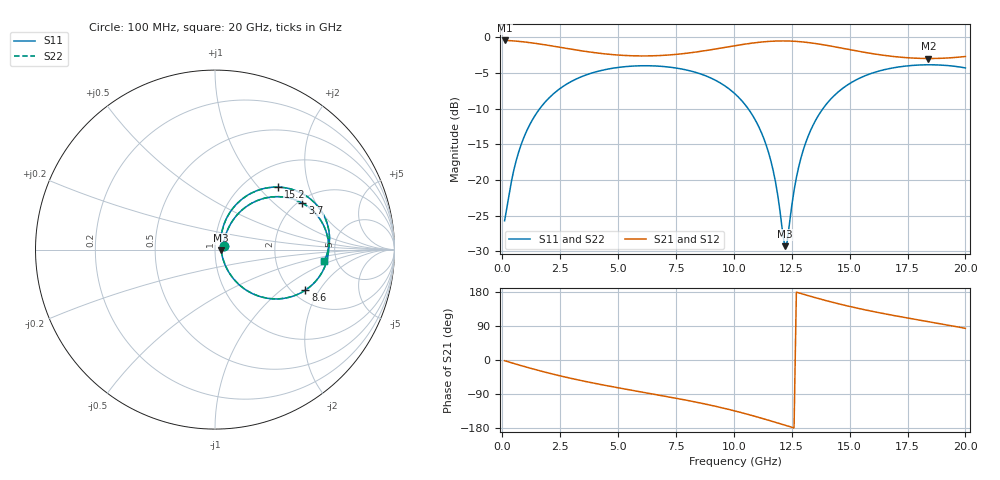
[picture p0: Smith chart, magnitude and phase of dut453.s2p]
! Touchstone file exported from HFSS 2026.1.0
!  File:  C:/ffzhzh/LocalFiles/Ansys_Project_Files/temp_train_TSV_RDL_453_1783100227_35180.aedt
!  Generated:  01:48:49 AM Jul  4, 2026
!  Design:  TSV_RDL
!  Project:  temp_train_TSV_RDL_453_1783100227_35180
! Variables:
!  h_bsmrdl = 2.97um
!  h_ox = 20um
!  h_rdl = 5um
!  h_sub = 89.7um
!  h_tmrdl = 2.14um
!  h_tsv = 89.7um
!  h_via = 3um
!  l_bsmrdl = 287.41um
!  l_sub = 4284.33um
!  l_tmrdl = 738.32um
!  m_sub = 200um
!  pitch = 55.94um
!  r_tsv = 14.64um
!  s_tmrdl = 10um
!  w_bsmrdl = 10.07um
!  w_sub = 500um
!  w_tmrdl = 12.87um
!  x_tsv_center1 = 744.755um
!  x_tsv_center2 = 1042.235um
!  x_tsv_center3 = 1793.425um
!  x_tsv_center4 = 2090.905um
!  x_tsv_center5 = 2842.095um
!  x_tsv_center6 = 3139.575um
# GHz S MA R 50.000000
! Terminal data exported
! Port[1] = TM_RDL1_1_T1
! Port[2] = TM_RDL5_1_T1
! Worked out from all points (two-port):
!   200 points, 100 MHz to 20 GHz, reference 50 ohm
!   highest |S21| = -0.42 dB at 100 MHz (marker M1); lowest = -3.0 dB at 18.4 GHz (marker M2)
!   |S21| within 3 dB of the highest: start of sweep to end of sweep
!   lowest |S11| = -29.3 dB at 12.2 GHz (marker M3), VSWR 1.07, Z = 53.5 - j0.305 ohm
!   |S11| at or under -10 dB: start of sweep to 1.618 GHz; 10.62 GHz to 13.85 GHz (3.23 GHz wide, 26.4 % of centre)
!   |S22| runs from -29.1 to -3.8 dB; largest |S21 - S12| = 1.6e-14
!   S11 on the Smith chart (normalised r, x): 100 MHz: 1.10, +0.04; 3.7 GHz: 2.11, +1.57; 8.6 GHz: 2.34, -1.52; 15.2 GHz: 1.40, +1.29; 20 GHz: 3.97, -0.81
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0.1  0.05169 23.2  0.9529 -1.9  0.9529 -1.9  0.05169 23.2
! Gamma 0 0 0 0
! Port Impedance 50 0 50 0
0.6  0.1366 57.9  0.9427 -11.1  0.9427 -11.1  0.1366 57.9
1.2  0.2468 56.7  0.9199 -21.5  0.9199 -21.5  0.2467 56.7
2.2  0.4011 45.7  0.869 -37.5  0.869 -37.5  0.4011 45.7
3.5  0.5369 30.2  0.8025 -55.5  0.8025 -55.5  0.5369 30.3
3.7  0.5518 28.0  0.7938 -58.0  0.7938 -58.0  0.5517 28.0
5.3  0.6239 10.9  0.7475 -76.6  0.7475 -76.6  0.6238 10.9
6.8  0.6284 -4.4  0.7467 -93.0  0.7467 -93.0  0.6284 -4.4
8.6  0.5521 -24.2  0.8005 -114.1  0.8005 -114.1  0.552 -24.1
10.1  0.3952 -43.2  0.8782 -135.3  0.8782 -135.3  0.3952 -43.1
10.8  0.2856 -52.4  0.9134 -146.7  0.9134 -146.7  0.2856 -52.3
11.4  0.175 -58.3  0.9356 -157.2  0.9356 -157.2  0.175 -58.0
11.8  0.09663 -56.0  0.9438 -164.5  0.9438 -164.5  0.09678 -55.6
12.2  0.03429 -4.8  0.9456 -171.8  0.9456 -171.8  0.03489 -4.4
12.3  0.03659 27.9  0.945 -173.7  0.945 -173.7  0.0372 27.6
12.8  0.1234 70.0  0.9359 177.2  0.9359 177.2  0.1236 69.7
13.4  0.2384 67.4  0.9131 166.5  0.9131 166.5  0.2386 67.2
14.2  0.3715 57.5  0.8697 153.3  0.8697 153.3  0.3716 57.4
15.2  0.4958 44.6  0.8105 138.6  0.8105 138.6  0.4959 44.6
16.7  0.6042 27.4  0.7414 119.8  0.7414 119.8  0.6042 27.4
18.4  0.6431 10.1  0.7118 101.2  0.7118 101.2  0.6431 10.1
20  0.6112 -6.0  0.7353 83.6  0.7353 83.6  0.6112 -6.0
